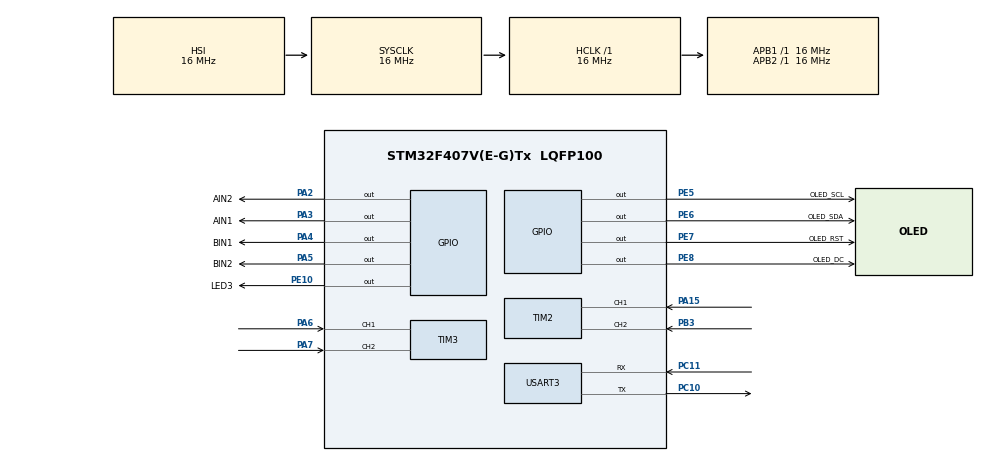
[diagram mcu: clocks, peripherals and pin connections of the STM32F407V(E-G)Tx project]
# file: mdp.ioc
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FREERTOS.Tasks01=defaultTask,24,128,StartDefaultTask,Default,NULL,Dynamic,NULL,NULL;showTask,8,128,show,Default,NULL,Dynamic,NULL,NULL;motorTask,8,128,motor,Default,NULL,Dynamic,NULL,NULL;encoderTask,8,128,encoder,Default,NULL,Dynamic,NULL,NULL
Mcu.Family=STM32F4
Mcu.Name=STM32F407V(E-G)Tx
Mcu.Package=LQFP100
NVIC.PriorityGroup=NVIC_PRIORITYGROUP_4
PA15.Signal=S_TIM2_CH1_ETR
PA2.GPIO_Label=AIN2
PA2.GPIO_Speed=GPIO_SPEED_FREQ_HIGH
PA2.Signal=GPIO_Output
PA3.GPIO_Label=AIN1
PA3.Signal=GPIO_Output
PA4.GPIO_Label=BIN1
PA4.GPIO_Speed=GPIO_SPEED_FREQ_HIGH
PA4.Signal=GPIO_Output
PA5.GPIO_Label=BIN2
PA5.GPIO_Speed=GPIO_SPEED_FREQ_HIGH
PA5.Signal=GPIO_Output
PA6.Signal=S_TIM3_CH1
PA7.Signal=S_TIM3_CH2
PB3.Signal=S_TIM2_CH2
PC10.Mode=Asynchronous
PC10.Signal=USART3_TX
PC11.GPIO_ModeDefaultPP=GPIO_MODE_AF_PP
PC11.Mode=Asynchronous
PC11.Signal=USART3_RX
PC6.GPIO_Label=PWMA
PC6.Signal=S_TIM8_CH1
PC7.GPIO_Label=PWMB
PC7.Signal=S_TIM8_CH2
PE10.GPIO_Label=LED3
PE10.Signal=GPIO_Output
PE5.GPIO_Label=OLED_SCL
PE5.Signal=GPIO_Output
PE6.GPIO_Label=OLED_SDA
PE6.Signal=GPIO_Output
PE7.GPIO_Label=OLED_RST
PE7.Signal=GPIO_Output
PE8.GPIO_Label=OLED_DC
PE8.Signal=GPIO_Output
ProjectManager.HeapSize=0x200
ProjectManager.StackSize=0x400
ProjectManager.TargetToolchain=STM32CubeIDE
RCC.AHBFreq_Value=16000000
RCC.APB1Freq_Value=16000000
RCC.APB2Freq_Value=16000000
RCC.CortexFreq_Value=16000000
RCC.HSE_VALUE=25000000
RCC.HSI_VALUE=16000000
RCC.LSE_VALUE=32768
RCC.SYSCLKFreq_VALUE=16000000
RCC.VCOOutputFreq_Value=192000000
SH.S_TIM2_CH1_ETR.0=TIM2_CH1,Encoder_Interface
SH.S_TIM2_CH2.0=TIM2_CH2,Encoder_Interface
SH.S_TIM3_CH1.0=TIM3_CH1,Encoder_Interface
SH.S_TIM3_CH2.0=TIM3_CH2,Encoder_Interface
SH.S_TIM8_CH1.0=TIM8_CH1
SH.S_TIM8_CH2.0=TIM8_CH2
TIM2.EncoderMode=TIM_ENCODERMODE_TI12
TIM2.IC2Filter=10
TIM8.Channel-PWM\ Generation1\ No\ Output=TIM_CHANNEL_1
TIM8.Channel-PWM\ Generation2\ No\ Output=TIM_CHANNEL_2
TIM8.Period=7199
USART3.VirtualMode=VM_ASYNC
VP_FREERTOS_VS_CMSIS_V2.Mode=CMSIS_V2
VP_TIM8_VS_ClockSourceINT.Mode=Internal
VP_TIM8_VS_no_output1.Mode=PWM Generation1 No Output
VP_TIM8_VS_no_output2.Mode=PWM Generation2 No Output
board=custom

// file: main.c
/* USER CODE BEGIN Header */
/**
  ******************************************************************************
  * @file           : main.c
  * @brief          : Main program body
  ******************************************************************************
  * @attention
  *
  * <h2><center>&copy; Copyright (c) 2022 STMicroelectronics.
  * All rights reserved.</center></h2>
  *
  * This software component is licensed by ST under BSD 3-Clause license,
  * the "License"; You may not use this file except in compliance with the
  * License. You may obtain a copy of the License at:
  *                        opensource.org/licenses/BSD-3-Clause
  *
  ******************************************************************************
  */
/* USER CODE END Header */
#include "main.h"
#include "cmsis_os.h"

/* USER CODE BEGIN Includes */
#include "oled.h"
/* USER CODE END Includes */

TIM_HandleTypeDef htim2;
TIM_HandleTypeDef htim3;
TIM_HandleTypeDef htim8;

UART_HandleTypeDef huart3;

/* Definitions for defaultTask */
osThreadId_t defaultTaskHandle;
const osThreadAttr_t defaultTask_attributes = {
  .name = "defaultTask",
  .stack_size = 128 * 4,
  .priority = (osPriority_t) osPriorityNormal,
};
/* Definitions for showTask */
osThreadId_t showTaskHandle;
const osThreadAttr_t showTask_attributes = {
  .name = "showTask",
  .stack_size = 128 * 4,
  .priority = (osPriority_t) osPriorityLow,
};
/* Definitions for motorTask */
osThreadId_t motorTaskHandle;
const osThreadAttr_t motorTask_attributes = {
  .name = "motorTask",
  .stack_size = 128 * 4,
  .priority = (osPriority_t) osPriorityLow,
};
/* Definitions for encoderTask */
osThreadId_t encoderTaskHandle;
const osThreadAttr_t encoderTask_attributes = {
  .name = "encoderTask",
  .stack_size = 128 * 4,
  .priority = (osPriority_t) osPriorityLow,
};

void SystemClock_Config(void);
static void MX_GPIO_Init(void);
static void MX_TIM8_Init(void);
static void MX_TIM2_Init(void);
static void MX_USART3_UART_Init(void);
static void MX_TIM3_Init(void);
void StartDefaultTask(void *argument);
void show(void *argument);
void motor(void *argument);
void encoder(void *argument);

/* USER CODE BEGIN 0 */
uint8_t aRxBuffer[20];
/* USER CODE END 0 */

int main(void)
{

  /* MCU Configuration--------------------------------------------------------*/

  /* Reset of all peripherals, Initializes the Flash interface and the Systick. */
  HAL_Init();

  /* Configure the system clock */
  SystemClock_Config();

  /* Initialize all configured peripherals */
  MX_GPIO_Init();
  MX_TIM8_Init();
  MX_TIM2_Init();
  MX_USART3_UART_Init();
  MX_TIM3_Init();
  /* USER CODE BEGIN 2 */
  OLED_Init();
  // Receive an amount of data from rpi
  HAL_UART_Receive_IT(&huart3,(uint8_t *)aRxBuffer, 10);
  /* USER CODE END 2 */

  /* Init scheduler */
  osKernelInitialize();

  /* Create the thread(s) */
  /* creation of defaultTask */
  defaultTaskHandle = osThreadNew(StartDefaultTask, NULL, &defaultTask_attributes);

  /* creation of showTask */
  showTaskHandle = osThreadNew(show, NULL, &showTask_attributes);

  /* creation of motorTask */
  motorTaskHandle = osThreadNew(motor, NULL, &motorTask_attributes);

  /* creation of encoderTask */
  encoderTaskHandle = osThreadNew(encoder, NULL, &encoderTask_attributes);

  /* Start scheduler */
  osKernelStart();

  /* We should never get here as control is now taken by the scheduler */
  /* Infinite loop */
  while (1)
  {

  }
}

void SystemClock_Config(void)
{
  RCC_OscInitTypeDef RCC_OscInitStruct = {0};
  RCC_ClkInitTypeDef RCC_ClkInitStruct = {0};

  /** Configure the main internal regulator output voltage
  */
  __HAL_RCC_PWR_CLK_ENABLE();
  __HAL_PWR_VOLTAGESCALING_CONFIG(PWR_REGULATOR_VOLTAGE_SCALE1);

  /** Initializes the RCC Oscillators according to the specified parameters
  * in the RCC_OscInitTypeDef structure.
  */
  RCC_OscInitStruct.OscillatorType = RCC_OSCILLATORTYPE_HSI;
  RCC_OscInitStruct.HSIState = RCC_HSI_ON;
  RCC_OscInitStruct.HSICalibrationValue = RCC_HSICALIBRATION_DEFAULT;
  RCC_OscInitStruct.PLL.PLLState = RCC_PLL_NONE;
  if (HAL_RCC_OscConfig(&RCC_OscInitStruct) != HAL_OK)
  {
    Error_Handler();
  }

  /** Initializes the CPU, AHB and APB buses clocks
  */
  RCC_ClkInitStruct.ClockType = RCC_CLOCKTYPE_HCLK|RCC_CLOCKTYPE_SYSCLK
                              |RCC_CLOCKTYPE_PCLK1|RCC_CLOCKTYPE_PCLK2;
  RCC_ClkInitStruct.SYSCLKSource = RCC_SYSCLKSOURCE_HSI;
  RCC_ClkInitStruct.AHBCLKDivider = RCC_SYSCLK_DIV1;
  RCC_ClkInitStruct.APB1CLKDivider = RCC_HCLK_DIV1;
  RCC_ClkInitStruct.APB2CLKDivider = RCC_HCLK_DIV1;

  if (HAL_RCC_ClockConfig(&RCC_ClkInitStruct, FLASH_LATENCY_0) != HAL_OK)
  {
    Error_Handler();
  }
}

static void MX_TIM2_Init(void)
{

  TIM_Encoder_InitTypeDef sConfig = {0};
  TIM_MasterConfigTypeDef sMasterConfig = {0};

  htim2.Instance = TIM2;
  htim2.Init.Prescaler = 0;
  htim2.Init.CounterMode = TIM_COUNTERMODE_UP;
  htim2.Init.Period = 4294967295;
  htim2.Init.ClockDivision = TIM_CLOCKDIVISION_DIV1;
  htim2.Init.AutoReloadPreload = TIM_AUTORELOAD_PRELOAD_DISABLE;
  sConfig.EncoderMode = TIM_ENCODERMODE_TI12;
  sConfig.IC1Polarity = TIM_ICPOLARITY_RISING;
  sConfig.IC1Selection = TIM_ICSELECTION_DIRECTTI;
  sConfig.IC1Prescaler = TIM_ICPSC_DIV1;
  sConfig.IC1Filter = 0;
  sConfig.IC2Polarity = TIM_ICPOLARITY_RISING;
  sConfig.IC2Selection = TIM_ICSELECTION_DIRECTTI;
  sConfig.IC2Prescaler = TIM_ICPSC_DIV1;
  sConfig.IC2Filter = 10;
  if (HAL_TIM_Encoder_Init(&htim2, &sConfig) != HAL_OK)
  {
    Error_Handler();
  }
  sMasterConfig.MasterOutputTrigger = TIM_TRGO_RESET;
  sMasterConfig.MasterSlaveMode = TIM_MASTERSLAVEMODE_DISABLE;
  if (HAL_TIMEx_MasterConfigSynchronization(&htim2, &sMasterConfig) != HAL_OK)
  {
    Error_Handler();
  }

}

static void MX_TIM3_Init(void)
{

  TIM_Encoder_InitTypeDef sConfig = {0};
  TIM_MasterConfigTypeDef sMasterConfig = {0};

  htim3.Instance = TIM3;
  htim3.Init.Prescaler = 0;
  htim3.Init.CounterMode = TIM_COUNTERMODE_UP;
  htim3.Init.Period = 65535;
  htim3.Init.ClockDivision = TIM_CLOCKDIVISION_DIV1;
  htim3.Init.AutoReloadPreload = TIM_AUTORELOAD_PRELOAD_DISABLE;
  sConfig.EncoderMode = TIM_ENCODERMODE_TI1;
  sConfig.IC1Polarity = TIM_ICPOLARITY_RISING;
  sConfig.IC1Selection = TIM_ICSELECTION_DIRECTTI;
  sConfig.IC1Prescaler = TIM_ICPSC_DIV1;
  sConfig.IC1Filter = 0;
  sConfig.IC2Polarity = TIM_ICPOLARITY_RISING;
  sConfig.IC2Selection = TIM_ICSELECTION_DIRECTTI;
  sConfig.IC2Prescaler = TIM_ICPSC_DIV1;
  sConfig.IC2Filter = 0;
  if (HAL_TIM_Encoder_Init(&htim3, &sConfig) != HAL_OK)
  {
    Error_Handler();
  }
  sMasterConfig.MasterOutputTrigger = TIM_TRGO_RESET;
  sMasterConfig.MasterSlaveMode = TIM_MASTERSLAVEMODE_DISABLE;
  if (HAL_TIMEx_MasterConfigSynchronization(&htim3, &sMasterConfig) != HAL_OK)
  {
    Error_Handler();
  }

}

static void MX_TIM8_Init(void)
{

  TIM_ClockConfigTypeDef sClockSourceConfig = {0};
  TIM_MasterConfigTypeDef sMasterConfig = {0};
  TIM_OC_InitTypeDef sConfigOC = {0};
  TIM_BreakDeadTimeConfigTypeDef sBreakDeadTimeConfig = {0};

  htim8.Instance = TIM8;
  htim8.Init.Prescaler = 0;
  htim8.Init.CounterMode = TIM_COUNTERMODE_UP;
  htim8.Init.Period = 7199;
  htim8.Init.ClockDivision = TIM_CLOCKDIVISION_DIV1;
  htim8.Init.RepetitionCounter = 0;
  htim8.Init.AutoReloadPreload = TIM_AUTORELOAD_PRELOAD_DISABLE;
  if (HAL_TIM_Base_Init(&htim8) != HAL_OK)
  {
    Error_Handler();
  }
  sClockSourceConfig.ClockSource = TIM_CLOCKSOURCE_INTERNAL;
  if (HAL_TIM_ConfigClockSource(&htim8, &sClockSourceConfig) != HAL_OK)
  {
    Error_Handler();
  }
  if (HAL_TIM_PWM_Init(&htim8) != HAL_OK)
  {
    Error_Handler();
  }
  sMasterConfig.MasterOutputTrigger = TIM_TRGO_RESET;
  sMasterConfig.MasterSlaveMode = TIM_MASTERSLAVEMODE_DISABLE;
  if (HAL_TIMEx_MasterConfigSynchronization(&htim8, &sMasterConfig) != HAL_OK)
  {
    Error_Handler();
  }
  sConfigOC.OCMode = TIM_OCMODE_PWM1;
  sConfigOC.Pulse = 0;
  sConfigOC.OCPolarity = TIM_OCPOLARITY_HIGH;
  sConfigOC.OCNPolarity = TIM_OCNPOLARITY_HIGH;
  sConfigOC.OCFastMode = TIM_OCFAST_DISABLE;
  sConfigOC.OCIdleState = TIM_OCIDLESTATE_RESET;
  sConfigOC.OCNIdleState = TIM_OCNIDLESTATE_RESET;
  if (HAL_TIM_PWM_ConfigChannel(&htim8, &sConfigOC, TIM_CHANNEL_1) != HAL_OK)
  {
    Error_Handler();
  }
  if (HAL_TIM_PWM_ConfigChannel(&htim8, &sConfigOC, TIM_CHANNEL_2) != HAL_OK)
  {
    Error_Handler();
  }
  sBreakDeadTimeConfig.OffStateRunMode = TIM_OSSR_DISABLE;
  sBreakDeadTimeConfig.OffStateIDLEMode = TIM_OSSI_DISABLE;
  sBreakDeadTimeConfig.LockLevel = TIM_LOCKLEVEL_OFF;
  sBreakDeadTimeConfig.DeadTime = 0;
  sBreakDeadTimeConfig.BreakState = TIM_BREAK_DISABLE;
  sBreakDeadTimeConfig.BreakPolarity = TIM_BREAKPOLARITY_HIGH;
  sBreakDeadTimeConfig.AutomaticOutput = TIM_AUTOMATICOUTPUT_DISABLE;
  if (HAL_TIMEx_ConfigBreakDeadTime(&htim8, &sBreakDeadTimeConfig) != HAL_OK)
  {
    Error_Handler();
  }

}

static void MX_USART3_UART_Init(void)
{

  huart3.Instance = USART3;
  huart3.Init.BaudRate = 115200;
  huart3.Init.WordLength = UART_WORDLENGTH_8B;
  huart3.Init.StopBits = UART_STOPBITS_1;
  huart3.Init.Parity = UART_PARITY_NONE;
  huart3.Init.Mode = UART_MODE_TX_RX;
  huart3.Init.HwFlowCtl = UART_HWCONTROL_NONE;
  huart3.Init.OverSampling = UART_OVERSAMPLING_16;
  if (HAL_UART_Init(&huart3) != HAL_OK)
  {
    Error_Handler();
  }

}

static void MX_GPIO_Init(void)
{
  GPIO_InitTypeDef GPIO_InitStruct = {0};

  /* GPIO Ports Clock Enable */
  __HAL_RCC_GPIOE_CLK_ENABLE();
  __HAL_RCC_GPIOA_CLK_ENABLE();
  __HAL_RCC_GPIOC_CLK_ENABLE();
  __HAL_RCC_GPIOB_CLK_ENABLE();

  /*Configure GPIO pin Output Level */
  HAL_GPIO_WritePin(GPIOE, OLED_SCL_Pin|OLED_SDA_Pin|OLED_RST_Pin|OLED_DC_Pin
                          |LED3_Pin, GPIO_PIN_RESET);

  /*Configure GPIO pin Output Level */
  HAL_GPIO_WritePin(GPIOA, AIN2_Pin|AIN1_Pin|BIN1_Pin|BIN2_Pin, GPIO_PIN_RESET);

  /*Configure GPIO pins : OLED_SCL_Pin OLED_SDA_Pin OLED_RST_Pin OLED_DC_Pin
                           LED3_Pin */
  GPIO_InitStruct.Pin = OLED_SCL_Pin|OLED_SDA_Pin|OLED_RST_Pin|OLED_DC_Pin
                          |LED3_Pin;
  GPIO_InitStruct.Mode = GPIO_MODE_OUTPUT_PP;
  GPIO_InitStruct.Pull = GPIO_NOPULL;
  GPIO_InitStruct.Speed = GPIO_SPEED_FREQ_LOW;
  HAL_GPIO_Init(GPIOE, &GPIO_InitStruct);

  /*Configure GPIO pins : AIN2_Pin BIN1_Pin BIN2_Pin */
  GPIO_InitStruct.Pin = AIN2_Pin|BIN1_Pin|BIN2_Pin;
  GPIO_InitStruct.Mode = GPIO_MODE_OUTPUT_PP;
  GPIO_InitStruct.Pull = GPIO_NOPULL;
  GPIO_InitStruct.Speed = GPIO_SPEED_FREQ_HIGH;
  HAL_GPIO_Init(GPIOA, &GPIO_InitStruct);

  /*Configure GPIO pin : AIN1_Pin */
  GPIO_InitStruct.Pin = AIN1_Pin;
  GPIO_InitStruct.Mode = GPIO_MODE_OUTPUT_PP;
  GPIO_InitStruct.Pull = GPIO_NOPULL;
  GPIO_InitStruct.Speed = GPIO_SPEED_FREQ_LOW;
  HAL_GPIO_Init(AIN1_GPIO_Port, &GPIO_InitStruct);

}

/* USER CODE BEGIN 4 */
void HAL_UARD_RxCpltCallback(UART_HandleTypeDef *huart)
{
	// suppress unused argument warning
	UNUSED(huart);
	// Whatever received will be put inside
	HAL_UART_Transmit(&huart3, (uint8_t *)aRxBuffer, 10, 0xFFFF);
}
/* USER CODE END 4 */

void StartDefaultTask(void *argument)
{
  /* USER CODE BEGIN 5 */
  /* Infinite loop */
  // uint8_t ch = 'A';
  for(;;)
  {
	/* Example to send data to the other side
	 * HAL_UART_Transmit(&huart3, (uint8_t *)&ch, 1, 0xFFFF);
	if(ch < 'Z')
		ch++;
	else ch = 'A' */
	HAL_GPIO_TogglePin(LED3_GPIO_Port, LED3_Pin);
    osDelay(1000);
  }
  /* USER CODE END 5 */
}

void show(void *argument)
{
  /* USER CODE BEGIN show */
  /* Infinite loop */
  uint8_t hello[20] = "I am alive\0";
  for(;;)
  {
	// Example to show received data
	//sprintf(Hello, "%s\0", aRxBuffer);
	OLED_ShowString(10,10,hello);
	OLED_Refresh_Gram();
    osDelay(1000);
  }
  /* USER CODE END show */
}

void motor(void *argument)
{
  /* USER CODE BEGIN motor */
	uint16_t pwmVal = 0;
	uint8_t hello[20];
	HAL_TIM_PWM_Start(&htim8, TIM_CHANNEL_1);
	HAL_TIM_PWM_Start(&htim8, TIM_CHANNEL_2);
  /* Infinite loop */
  for(;;)
  {
	// speed up
	while(pwmVal < 4000)
	{
		// pwm A
		HAL_GPIO_WritePin(GPIOA, AIN2_Pin, GPIO_PIN_SET);
		HAL_GPIO_WritePin(GPIOA, AIN1_Pin, GPIO_PIN_RESET);
		HAL_GPIO_WritePin(GPIOA, BIN2_Pin, GPIO_PIN_SET);
		HAL_GPIO_WritePin(GPIOA, BIN1_Pin, GPIO_PIN_RESET);
		pwmVal++;
		// modify comparison value for duty cycle
		__HAL_TIM_SetCompare(&htim8,TIM_CHANNEL_1,pwmVal);
		__HAL_TIM_SetCompare(&htim8,TIM_CHANNEL_2,pwmVal);
		// obviously ide does not like how we play with sprintf here, ignore the warning for now
		sprintf(hello, "Motor: %5d\0", pwmVal);
		OLED_ShowString(10,20,hello);
		osDelay(10);
	}

	// slow down
	while(pwmVal > 0)
	{
		// pwm A
		HAL_GPIO_WritePin(GPIOA, AIN2_Pin, GPIO_PIN_RESET);
		HAL_GPIO_WritePin(GPIOA, AIN1_Pin, GPIO_PIN_SET);
		HAL_GPIO_WritePin(GPIOA, BIN2_Pin, GPIO_PIN_RESET);
		HAL_GPIO_WritePin(GPIOA, BIN1_Pin, GPIO_PIN_SET);
		pwmVal--;
		// modify comparison value for duty cycle
		__HAL_TIM_SetCompare(&htim8,TIM_CHANNEL_1,pwmVal);
		__HAL_TIM_SetCompare(&htim8,TIM_CHANNEL_2,pwmVal);
		sprintf(hello, "Motor: %5d\0", pwmVal);
		OLED_ShowString(10,20,hello);
		osDelay(10);
	}
    osDelay(1000);
  }
  /* USER CODE END motor */
}

void encoder(void *argument)
{
  /* USER CODE BEGIN encoder */
  /* Infinite loop */
  HAL_TIM_Encoder_Start(&htim2, TIM_CHANNEL_ALL);

  int cnt1, cnt2, diff;
  uint32_t tick;
  uint8_t hello[20];
  uint16_t dir;
  cnt1 = __HAL_TIM_GET_COUNTER(&htim2);
  tick = HAL_GetTick();

  for(;;)
  {
	if(HAL_GetTick() - tick > 1000L){
		cnt2 = __HAL_TIM_GET_COUNTER(&htim2);
		if(__HAL_TIM_IS_TIM_COUNTING_DOWN(&htim2)){
			if(cnt2 < cnt1)
				diff = cnt2 - cnt1;
			else
				diff = (4294967295 - cnt1) + cnt2;
		}
		else{
			if(cnt2 > cnt1)
				diff = cnt2 - cnt1;
			else
				diff = (4294967295 - cnt1) + cnt2;
		}
		sprintf(hello, "Speed from encoder: %5d\0", diff);
		OLED_ShowString(10,30,hello);
		dir = __HAL_TIM_IS_TIM_COUNTING_DOWN(&htim2);
		sprintf(hello, "Dir: %5d\0", dir);
		OLED_ShowString(10,40,hello);
		cnt1 = __HAL_TIM_GET_COUNTER(&htim2);
		tick = HAL_GetTick();
	}
    // osDelay(1);
  }
  /* USER CODE END encoder */
}

void Error_Handler(void)
{
  __disable_irq();
  while (1)
  {
  }
}
